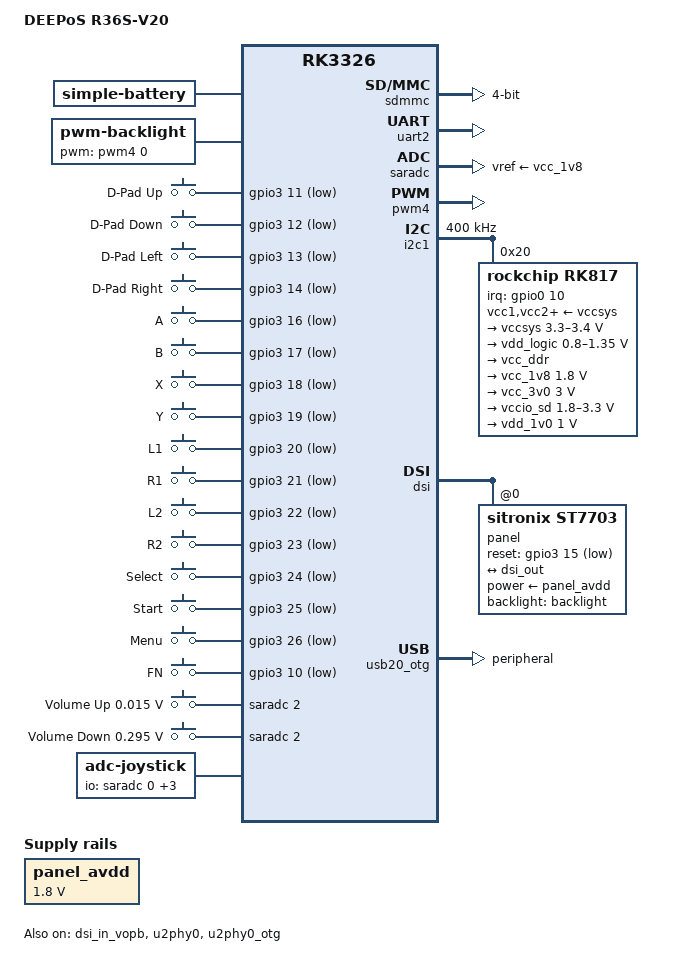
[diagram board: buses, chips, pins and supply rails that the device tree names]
/*
 * DEEPoS board DTS - R36S-V20 (2025-05-18 clone)
 *
 * SoC: Rockchip RK3326, PMIC RK817, panel Sitronix ST7703 (MIPI-DSI, 640x480),
 * one USB-C port (OTG, data only) plus a separate charge-only port, no eMMC.
 *
 * Values below are taken from the stock vendor DTB (`rf3536k3ka.dtb`, compatible
 * "rockchip,rk3326-evb-lp3-v12-linux") decompiled with dtc: panel timings,
 * reset GPIO (gpio3 pin 15, active low), speaker GPIO (gpio3 pin 7), battery
 * parameters and button wiring. The stock DTB drives the gamepad through a
 * vendor `play_joystick` driver; DEEPoS instead uses mainline input bindings:
 * gpio-keys for the buttons and adc-joystick for the four stick axes.
 *
 * Build (inside the kernel tree):
 *   make ARCH=arm64 CROSS_COMPILE=aarch64-linux-gnu- rockchip/rk3326-r36s-v20.dtb
 */
/dts-v1/;
#include <dt-bindings/gpio/gpio.h>
#include <dt-bindings/input/input-event-codes.h>
#include <dt-bindings/pinctrl/rockchip.h>
#include "rk3326.dtsi"

/ {
	model = "DEEPoS R36S-V20";
	compatible = "deepos,r36s-v20", "rockchip,rk3326";

	chosen {
		stdout-path = "serial2:1500000n8";
	};

	aliases {
		mmc0 = &sdmmc;
		serial2 = &uart2;
	};

	/* 4x 408/816/1008/1416 MHz, no boost OPP: vdd_arm is capped at 1.35 V */
	cpus {
		cpu0: cpu@0 {
			operating-points-v2 = <&cpu_opp_table>;

			cpu_opp_table: opp-table-0 {
				compatible = "operating-points-v2";
				opp-shared;

				opp-408000000 {
					opp-hz = /bits/ 64 <408000000>;
					opp-microvolt = <950000>;
					clock-latency-ns = <40000>;
				};
				opp-816000000 {
					opp-hz = /bits/ 64 <816000000>;
					opp-microvolt = <1000000>;
					clock-latency-ns = <40000>;
				};
				opp-1008000000 {
					opp-hz = /bits/ 64 <1008000000>;
					opp-microvolt = <1050000>;
					clock-latency-ns = <40000>;
				};
				opp-1416000000 {
					opp-hz = /bits/ 64 <1416000000>;
					opp-microvolt = <1350000>;
					clock-latency-ns = <40000>;
					opp-suspend;
				};
			};
		};
	};

	battery: battery-cell {
		compatible = "simple-battery";
		/* 804068 pouch cell, 3.7 V nominal, 3500 mAh */
		device-chemistry = "lithium-ion-polymer";
		voltage-min-design-microvolt = <3400000>;
		voltage-max-design-microvolt = <4200000>;
		energy-full-design-microwatt-hours = <12950000>;
		charge-full-design-microamp-hours = <3500000>;
		operating-range-celsius = <0 45>;
	};

	backlight: backlight {
		compatible = "pwm-backlight";
		pwms = <&pwm4 0 25000 0>;
		brightness-levels = <0 1 2 3 4 5 6 7 8 9 10 11 12 13 14 15
				     16 17 18 19 20 21 22 23 24 25 26 27 28 29 30 31
				     32 48 64 80 96 112 128 144 160 176 192 208 224 240 255>;
		default-brightness-level = <38>;
		status = "okay";
	};

	panel_avdd: regulator-panel-avdd {
		compatible = "regulator-fixed";
		regulator-name = "panel_avdd";
		regulator-min-microvolt = <1800000>;
		regulator-max-microvolt = <1800000>;
		regulator-always-on;
	};

	/* Buttons: one GPIO per switch on the clone (no key matrix). */
	gpio-keys {
		compatible = "gpio-keys";
		pinctrl-names = "default";
		pinctrl-0 = <&btn_pins>;
		autorepeat;

		key-up {
			label = "D-Pad Up";
			gpios = <&gpio3 11 GPIO_ACTIVE_LOW>;
			linux,code = <KEY_UP>;
		};
		key-down {
			label = "D-Pad Down";
			gpios = <&gpio3 12 GPIO_ACTIVE_LOW>;
			linux,code = <KEY_DOWN>;
		};
		key-left {
			label = "D-Pad Left";
			gpios = <&gpio3 13 GPIO_ACTIVE_LOW>;
			linux,code = <KEY_LEFT>;
		};
		key-right {
			label = "D-Pad Right";
			gpios = <&gpio3 14 GPIO_ACTIVE_LOW>;
			linux,code = <KEY_RIGHT>;
		};
		key-a {
			label = "A";
			gpios = <&gpio3 16 GPIO_ACTIVE_LOW>;
			linux,code = <BTN_SOUTH>;
		};
		key-b {
			label = "B";
			gpios = <&gpio3 17 GPIO_ACTIVE_LOW>;
			linux,code = <BTN_EAST>;
		};
		key-x {
			label = "X";
			gpios = <&gpio3 18 GPIO_ACTIVE_LOW>;
			linux,code = <BTN_NORTH>;
		};
		key-y {
			label = "Y";
			gpios = <&gpio3 19 GPIO_ACTIVE_LOW>;
			linux,code = <BTN_WEST>;
		};
		key-l1 {
			label = "L1";
			gpios = <&gpio3 20 GPIO_ACTIVE_LOW>;
			linux,code = <BTN_TL>;
		};
		key-r1 {
			label = "R1";
			gpios = <&gpio3 21 GPIO_ACTIVE_LOW>;
			linux,code = <BTN_TR>;
		};
		key-l2 {
			label = "L2";
			gpios = <&gpio3 22 GPIO_ACTIVE_LOW>;
			linux,code = <BTN_TL2>;
		};
		key-r2 {
			label = "R2";
			gpios = <&gpio3 23 GPIO_ACTIVE_LOW>;
			linux,code = <BTN_TR2>;
		};
		key-select {
			label = "Select";
			gpios = <&gpio3 24 GPIO_ACTIVE_LOW>;
			linux,code = <BTN_SELECT>;
		};
		key-start {
			label = "Start";
			gpios = <&gpio3 25 GPIO_ACTIVE_LOW>;
			linux,code = <BTN_START>;
		};
		key-menu {
			label = "Menu";
			gpios = <&gpio3 26 GPIO_ACTIVE_LOW>;
			linux,code = <BTN_MODE>;
		};
		key-fn {
			label = "FN";
			gpios = <&gpio3 10 GPIO_ACTIVE_LOW>;
			linux,code = <KEY_FN>;
		};
	};

	/* Volume rocker is on the SARADC ladder (values from the stock DTB). */
	adc-keys {
		compatible = "adc-keys";
		io-channels = <&saradc 2>;
		io-channel-names = "buttons";
		poll-interval = <100>;
		keyup-threshold-microvolt = <1800000>;

		button-vol-up {
			label = "Volume Up";
			linux,code = <KEY_VOLUMEUP>;
			press-threshold-microvolt = <15000>;
		};
		button-vol-down {
			label = "Volume Down";
			linux,code = <KEY_VOLUMEDOWN>;
			press-threshold-microvolt = <295000>;
		};
	};

	/* Two sticks, four ADC channels, 10-bit range (stock poll interval 30 ms). */
	adc-joystick {
		compatible = "adc-joystick";
		io-channels = <&saradc 0>, <&saradc 1>, <&saradc 3>, <&saradc 4>;
		io-channel-names = "left-x", "left-y", "right-x", "right-y";
		poll-interval = <10>;
		#address-cells = <1>;
		#size-cells = <0>;

		axis@0 {
			reg = <0>;
			abs-range = <0 1023>;
			abs-fuzz = <2>;
			abs-flat = <8>;
		};
		axis@1 {
			reg = <1>;
			abs-range = <0 1023>;
			abs-fuzz = <2>;
			abs-flat = <8>;
		};
		axis@2 {
			reg = <2>;
			abs-range = <0 1023>;
			abs-fuzz = <2>;
			abs-flat = <8>;
		};
		axis@3 {
			reg = <3>;
			abs-range = <0 1023>;
			abs-fuzz = <2>;
			abs-flat = <8>;
		};
	};

	sound {
		compatible = "simple-audio-card";
		simple-audio-card,name = "rk817-codec";
		simple-audio-card,format = "i2s";
		simple-audio-card,mclk-fs = <256>;

		simple-audio-card,cpu {
			sound-dai = <&i2s1_2ch>;
		};
		simple-audio-card,codec {
			sound-dai = <&rk817_codec>;
		};
	};
};

/* --- SD card ---------------------------------------------------------- */
&sdmmc {
	bus-width = <4>;
	max-frequency = <150000000>;
	cap-sd-highspeed;
	sd-uhs-sdr104;
	disable-wp;
	/* no dedicated card-detect line on this board: poll instead */
	broken-cd;
	status = "okay";
};

&sdmmc_clk {
	drive-strength = <12>;
};

/* --- UART (debug console on the two test pads) ------------------------ */
&uart2 {
	status = "okay";
};

/* --- ADC -------------------------------------------------------------- */
&saradc {
	vref-supply = <&vcc_1v8>;
	status = "okay";
};

/* --- Backlight / PWM -------------------------------------------------- */
&pwm4 {
	status = "okay";
};

/* --- PMIC: RK817 ------------------------------------------------------ */
&i2c1 {
	status = "okay";
	clock-frequency = <400000>;

	rk817: pmic@20 {
		compatible = "rockchip,rk817";
		reg = <0x20>;
		interrupt-parent = <&gpio0>;
		interrupts = <10 8>; /* GPIO0 pin10, level-low (IRQ_TYPE_LEVEL_LOW) */
		pinctrl-names = "default";
		pinctrl-0 = <&pmic_int_l>;
		rockchip,system-power-controller;
		wakeup-source;
		#clock-cells = <1>;
		clock-output-names = "rk808-clkout1", "xin32k";
		#sound-dai-cells = <0>;

		vcc1-supply = <&vccsys>;
		vcc2-supply = <&vccsys>;
		vcc3-supply = <&vccsys>;
		vcc4-supply = <&vccsys>;
		vcc5-supply = <&vccsys>;
		vcc6-supply = <&vccsys>;

		regulators {
			vccsys: DCDC_REG1 {
				regulator-name = "vccsys";
				regulator-min-microvolt = <3300000>;
				regulator-max-microvolt = <3400000>;
				regulator-always-on;
				regulator-boot-on;
			};

			vdd_logic: DCDC_REG2 {
				regulator-name = "vdd_logic";
				regulator-min-microvolt = <800000>;
				regulator-max-microvolt = <1350000>;
				regulator-always-on;
				regulator-boot-on;
				regulator-ramp-delay = <6001>;
			};

			vcc_ddr: DCDC_REG3 {
				regulator-name = "vcc_ddr";
				regulator-always-on;
				regulator-boot-on;
			};

			vcc_1v8: DCDC_REG4 {
				regulator-name = "vcc_1v8";
				regulator-min-microvolt = <1800000>;
				regulator-max-microvolt = <1800000>;
				regulator-always-on;
				regulator-boot-on;
			};

			vcc_3v0: LDO_REG1 {
				regulator-name = "vcc_3v0";
				regulator-min-microvolt = <3000000>;
				regulator-max-microvolt = <3000000>;
				regulator-always-on;
				regulator-boot-on;
			};

			vccio_sd: LDO_REG2 {
				regulator-name = "vccio_sd";
				regulator-min-microvolt = <1800000>;
				regulator-max-microvolt = <3300000>;
			};

			vdd_1v0: LDO_REG3 {
				regulator-name = "vdd_1v0";
				regulator-min-microvolt = <1000000>;
				regulator-max-microvolt = <1000000>;
				regulator-always-on;
				regulator-boot-on;
			};
		};

		rk817_charger: charger {
			compatible = "rockchip,rk817-charger";
			monitored-battery = <&battery>;
			rockchip,resistor-sense-micro-ohms = <10000>;
		};

		rk817_battery: battery {
			compatible = "rockchip,rk817-battery";
			monitored-battery = <&battery>;
			rockchip,resistor-sense-micro-ohms = <10000>;
			rockchip,sleep-enter-current-microamp = <300000>;
			rockchip,sleep-filter-current-microamp = <100000>;
		};

		rk817_codec: codec {
			compatible = "rockchip,rk817-codec";
			#sound-dai-cells = <0>;
			rockchip,mic-in-differential;
			rockchip,spk-con-gpio = <&gpio3 7 GPIO_ACTIVE_HIGH>;
			rockchip,hp-det-gpio = <&gpio2 3 GPIO_ACTIVE_HIGH>;
			spk-vol = <15>;
		};
	};
};

/* --- MIPI-DSI panel --------------------------------------------------- */
&dsi {
	status = "okay";

	panel@0 {
		compatible = "sitronix,st7703";
		reg = <0>;
		backlight = <&backlight>;
		power-supply = <&panel_avdd>;
		reset-gpios = <&gpio3 15 GPIO_ACTIVE_LOW>;
		prepare-delay-ms = <20>;
		reset-delay-ms = <20>;
		init-delay-ms = <20>;
		enable-delay-ms = <120>;
		disable-delay-ms = <20>;
		unprepare-delay-ms = <20>;
		width-mm = <153>;
		height-mm = <85>;
		/* VIDEO | VIDEO_BURST | LPM, same flags as the stock DTB (0xa03) */
		dsi,flags = <0xa03>;
		dsi,format = <0>; /* RGB888 */
		dsi,lanes = <4>;

		display-timings {
			native-mode = <&timing0>;

			timing0: timing0 {
				clock-frequency = <30000000>;
				hactive = <640>;
				vactive = <480>;
				hfront-porch = <150>;
				hsync-len = <50>;
				hback-porch = <150>;
				vfront-porch = <20>;
				vsync-len = <6>;
				vback-porch = <12>;
				hsync-active = <0>;
				vsync-active = <0>;
				de-active = <0>;
				pixelclk-active = <0>;
			};
		};

		ports {
			#address-cells = <1>;
			#size-cells = <0>;

			port@0 {
				reg = <0>;
				panel_in_dsi: endpoint {
					remote-endpoint = <&dsi_out>;
				};
			};
		};
	};
};

&dsi_in_vopb {
	status = "okay";
};

&dsi_out {
	remote-endpoint = <&panel_in_dsi>;
};

/* --- USB: one OTG port, data only (charge is a separate socket) ------- */
&usb20_otg {
	dr_mode = "peripheral";
	status = "okay";
};

&u2phy0 {
	status = "okay";
};

&u2phy0_otg {
	status = "okay";
};

&pinctrl {
	buttons {
		btn_pins: btn-pins {
			rockchip,pins = <3 RK_PB3 RK_FUNC_GPIO &pcfg_pull_up>,
					<3 RK_PB4 RK_FUNC_GPIO &pcfg_pull_up>,
					<3 RK_PB5 RK_FUNC_GPIO &pcfg_pull_up>,
					<3 RK_PB6 RK_FUNC_GPIO &pcfg_pull_up>,
					<3 RK_PB7 RK_FUNC_GPIO &pcfg_pull_up>,
					<3 RK_PC0 RK_FUNC_GPIO &pcfg_pull_up>,
					<3 RK_PC1 RK_FUNC_GPIO &pcfg_pull_up>,
					<3 RK_PC2 RK_FUNC_GPIO &pcfg_pull_up>,
					<3 RK_PC3 RK_FUNC_GPIO &pcfg_pull_up>,
					<3 RK_PC4 RK_FUNC_GPIO &pcfg_pull_up>,
					<3 RK_PC5 RK_FUNC_GPIO &pcfg_pull_up>,
					<3 RK_PC6 RK_FUNC_GPIO &pcfg_pull_up>,
					<3 RK_PC7 RK_FUNC_GPIO &pcfg_pull_up>,
					<3 RK_PD0 RK_FUNC_GPIO &pcfg_pull_up>,
					<3 RK_PD1 RK_FUNC_GPIO &pcfg_pull_up>,
					<3 RK_PD2 RK_FUNC_GPIO &pcfg_pull_up>,
					<3 RK_PA2 RK_FUNC_GPIO &pcfg_pull_up>,
					<3 RK_PB2 RK_FUNC_GPIO &pcfg_pull_up>;
		};
	};

	pmic {
		pmic_int_l: pmic-int-l {
			rockchip,pins = <0 RK_PB2 RK_FUNC_GPIO &pcfg_pull_up>;
		};
	};
};
